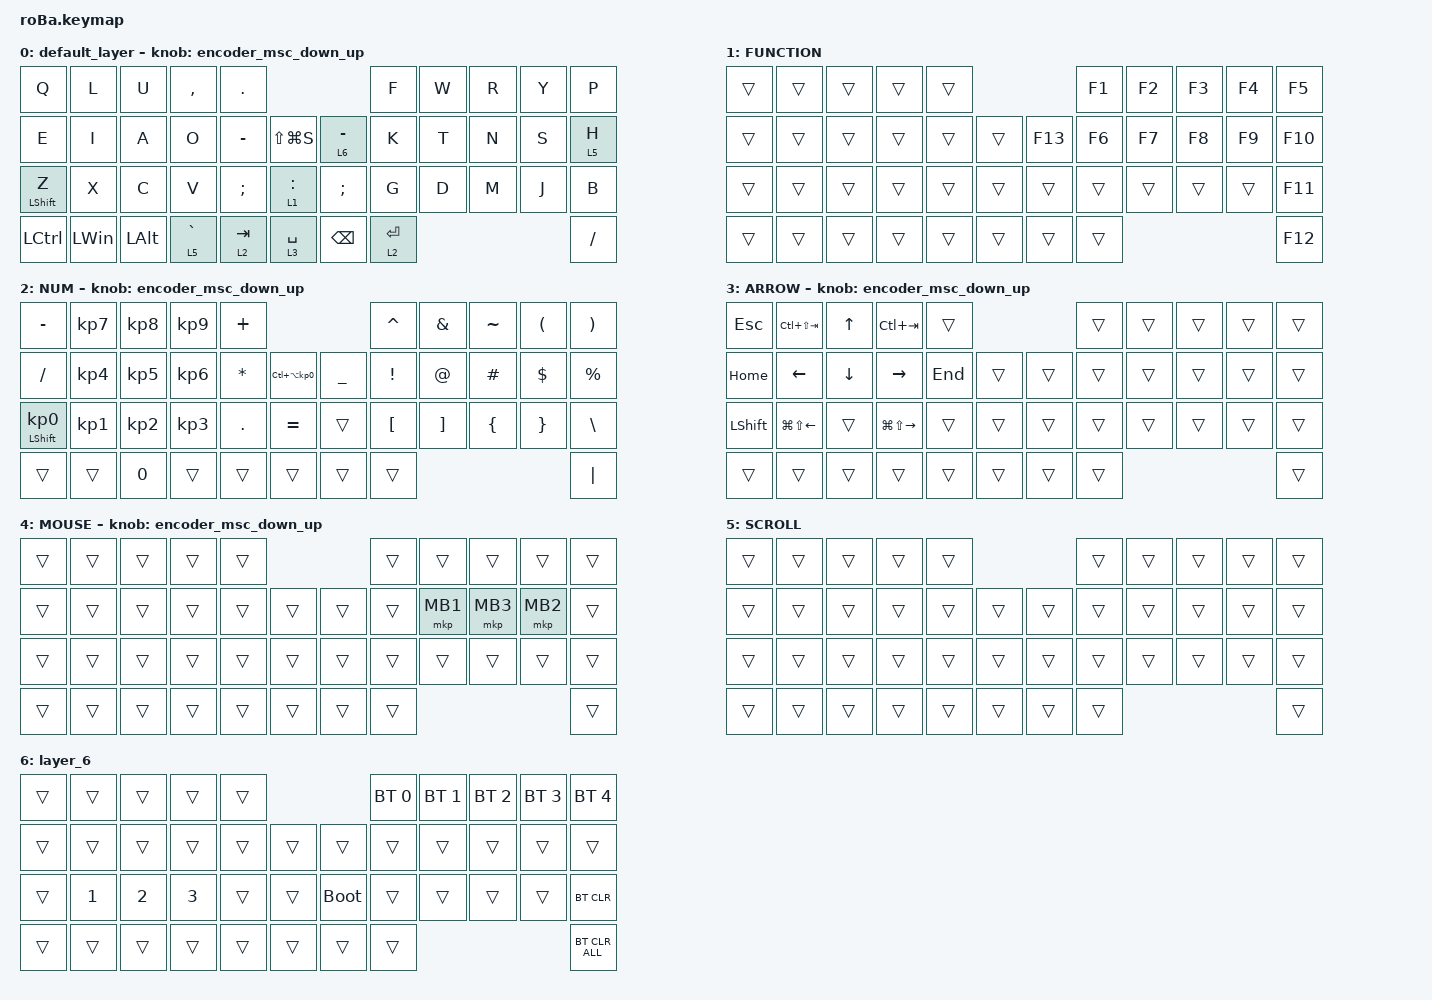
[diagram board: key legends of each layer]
#include <behaviors.dtsi>
#include <dt-bindings/zmk/bt.h>
#include <dt-bindings/zmk/keys.h>
#include <dt-bindings/zmk/pointing.h>

#define ZMK_POINTING_DEFAULT_SCRL_VAL 80

&mt {
    flavor = "balanced";
    quick-tap-ms = <0>;
};

&trackball {
    automouse-layer = <4>;
    scroll-layers = <5>;

    // arrows {
    //     layers = <3>;
    //     bindings =
    //         <&kp RIGHT_ARROW>,
    //         <&kp LEFT_ARROW>,
    //         <&kp UP_ARROW>,
    //         <&kp DOWN_ARROW>;
    //     tick = <10>;
    //     wait-ms = <5>;
    //     tap-ms = <5>;
    // };
};

/ {
    combos {
        compatible = "zmk,combos";

        tab {
            bindings = <&kp GRAVE>;
            key-positions = <11 12>;
        };

        machenkan {
            bindings = <&kp LC(SPACE)>;
            key-positions = <12 13>;
        };

        muhennkann {
            bindings = <&to_layer_0 INT_MUHENKAN>;
            key-positions = <11 10>;
        };

        double_quotation {
            bindings = <&kp DOUBLE_QUOTES>;
            key-positions = <20 21>;
        };

        eq {
            bindings = <&kp EQUAL>;
            key-positions = <24 25>;
        };

        hidarikurikku {
            bindings = <&mkp MB1>;
            key-positions = <19 18>;
        };

        migikurikku {
            bindings = <&mkp MB2>;
            key-positions = <19 20>;
        };
    };

    macros {
        to_layer_0: to_layer_0 {
            compatible = "zmk,behavior-macro-one-param";
            #binding-cells = <1>;
            bindings = <&to 0 &macro_param_1to1 &kp MACRO_PLACEHOLDER>;
            label = "TO_LAYER_0";
        };
    };

    behaviors {
        lt_to_layer_0: lt_to_layer_0 {
            compatible = "zmk,behavior-hold-tap";
            label = "LAYER_TAP_TO_0";
            bindings = <&mo>, <&to_layer_0>;

            #binding-cells = <2>;
            tapping-term-ms = <200>;
        };

        encoder_msc_down_up: encoder_msc_down_up {
            compatible = "zmk,behavior-sensor-rotate";
            label = "ENCODER_MSC_DOWN_UP";
            #sensor-binding-cells = <0>;
            bindings = <&msc SCRL_DOWN>, <&msc SCRL_UP>;

            tap-ms = <20>;
        };
    };

    keymap {
        compatible = "zmk,keymap";

        default_layer {
            bindings = <
&kp Q             &kp L         &kp U         &kp COMMA    &kp PERIOD                                       &kp F        &kp W  &kp R  &kp Y  &kp P
&kp E             &kp I         &kp A         &kp O        &kp MINUS      &kp LS(LG(S))      &lt 6 MINUS    &kp K        &kp T  &kp N  &kp S  &lt 5 H
&mt LEFT_SHIFT Z  &kp X         &kp C         &kp V        &kp SEMICOLON  &lt 1 COLON        &kp SEMICOLON  &kp G        &kp D  &kp M  &kp J  &kp B
&kp LCTRL         &kp LEFT_WIN  &kp LEFT_ALT  &lt 5 GRAVE  &lt 2 TAB      &lt 3 SPACE        &kp BACKSPACE  &lt 2 ENTER                       &kp SLASH
            >;

            sensor-bindings = <&encoder_msc_down_up>;
        };

        FUNCTION {
            bindings = <
&trans  &trans  &trans  &trans  &trans                       &kp F1  &kp F2  &kp F3  &kp F4  &kp F5
&trans  &trans  &trans  &trans  &trans  &trans      &kp F13  &kp F6  &kp F7  &kp F8  &kp F9  &kp F10
&trans  &trans  &trans  &trans  &trans  &trans      &trans   &trans  &trans  &trans  &trans  &kp F11
&trans  &trans  &trans  &trans  &trans  &trans      &trans   &trans                          &kp F12
            >;
        };

        NUM {
            bindings = <
&kp MINUS                   &kp KP_NUMBER_7  &kp KP_NUMBER_8  &kp KP_NUMBER_9  &kp PLUS                                                   &kp CARET         &kp AMPERSAND      &kp TILDE       &kp LEFT_PARENTHESIS  &kp RIGHT_PARENTHESIS
&kp SLASH                   &kp KP_NUMBER_4  &kp KP_NUMBER_5  &kp KP_NUMBER_6  &kp ASTERISK  &kp LC(LA(KP_NUMBER_0))      &kp UNDERSCORE  &kp EXCLAMATION   &kp AT_SIGN        &kp HASH        &kp DOLLAR            &kp PERCENT
&mt LEFT_SHIFT KP_NUMBER_0  &kp KP_NUMBER_1  &kp KP_NUMBER_2  &kp KP_NUMBER_3  &kp PERIOD    &kp EQUAL                    &trans          &kp LEFT_BRACKET  &kp RIGHT_BRACKET  &kp LEFT_BRACE  &kp RIGHT_BRACE       &kp BACKSLASH
&trans                      &trans           &kp N0           &trans           &trans        &trans                       &trans          &trans                                                                     &kp PIPE
            >;

            sensor-bindings = <&encoder_msc_down_up>;
        };

        ARROW {
            bindings = <
&kp ESCAPE      &kp LC(LS(TAB))         &kp UP_ARROW    &kp LC(TAB)              &trans                       &trans  &trans  &trans  &trans  &trans
&kp HOME        &kp LEFT_ARROW          &kp DOWN_ARROW  &kp RIGHT_ARROW          &kp END  &trans      &trans  &trans  &trans  &trans  &trans  &trans
&kp LEFT_SHIFT  &kp LG(LS(LEFT_ARROW))  &trans          &kp LG(LS(RIGHT_ARROW))  &trans   &trans      &trans  &trans  &trans  &trans  &trans  &trans
&trans          &trans                  &trans          &trans                   &trans   &trans      &trans  &trans                          &trans
            >;

            sensor-bindings = <&encoder_msc_down_up>;
        };

        MOUSE {
            bindings = <
&trans  &trans  &trans  &trans  &trans                      &trans  &trans    &trans    &trans    &trans
&trans  &trans  &trans  &trans  &trans  &trans      &trans  &trans  &mkp MB1  &mkp MB3  &mkp MB2  &trans
&trans  &trans  &trans  &trans  &trans  &trans      &trans  &trans  &trans    &trans    &trans    &trans
&trans  &trans  &trans  &trans  &trans  &trans      &trans  &trans                                &trans
            >;

            sensor-bindings = <&encoder_msc_down_up>;
        };

        SCROLL {
            bindings = <
&trans  &trans  &trans  &trans  &trans                      &trans  &trans  &trans  &trans  &trans
&trans  &trans  &trans  &trans  &trans  &trans      &trans  &trans  &trans  &trans  &trans  &trans
&trans  &trans  &trans  &trans  &trans  &trans      &trans  &trans  &trans  &trans  &trans  &trans
&trans  &trans  &trans  &trans  &trans  &trans      &trans  &trans                          &trans
            >;
        };

        layer_6 {
            bindings = <
&trans  &trans        &trans        &trans        &trans                           &bt BT_SEL 0  &bt BT_SEL 1  &bt BT_SEL 2  &bt BT_SEL 3  &bt BT_SEL 4
&trans  &trans        &trans        &trans        &trans  &trans      &trans       &trans        &trans        &trans        &trans        &trans
&trans  &kp NUMBER_1  &kp NUMBER_2  &kp NUMBER_3  &trans  &trans      &bootloader  &trans        &trans        &trans        &trans        &bt BT_CLR
&trans  &trans        &trans        &trans        &trans  &trans      &trans       &trans                                                  &bt BT_CLR_ALL
            >;
        };
    };
};
